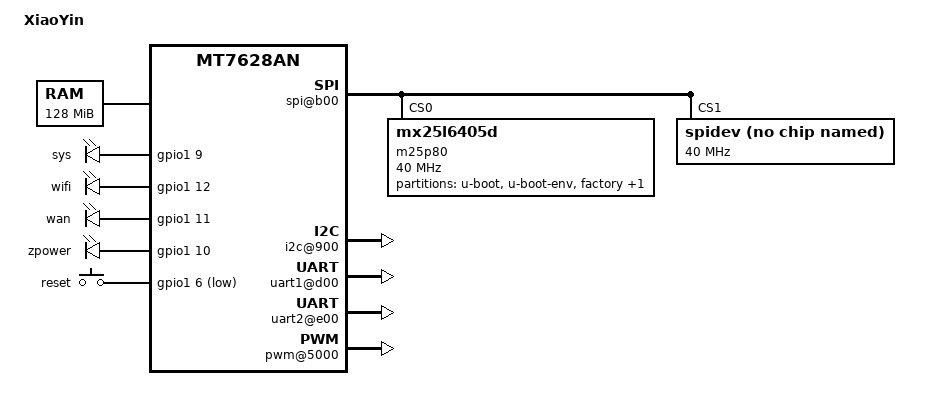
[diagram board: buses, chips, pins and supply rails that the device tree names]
/dts-v1/;

/include/ "mt7628an.dtsi"

/ {
	compatible = "mediatek,XiaoYin", "mediatek,mt7628an-soc";
	model = "XiaoYin";

	chosen {
		bootargs = "console=ttyS0,57600";
	};

	memory@0 {
		device_type = "memory";
		//reg = <0x0 0x4000000>; //64MB
		reg = <0x0 0x8000000>; //128MB
	};

	pinctrl {
		state_default: pinctrl0 {
			gpio {
				ralink,group = "gpio","perst", "refclk","spis","wled_an","ephy_p0","ephy_p1","ephy_p2","ephy_p3","ephy_p4","wdt";
				ralink,function = "gpio";
			};
			
			uart2 {
				ralink,group = "uart2";
				ralink,function = "uart2";
			};
			
			uart1 {
				ralink,group = "uart1";
				ralink,function = "uart1";
			};

			uart0 {
				ralink,group = "uart0";
				ralink,function = "uart0";
			};
			
			i2c {
				ralink,group = "i2c";
				ralink,function = "i2c";
			};
		};
	};

	palmbus@10000000 {
		spi@b00 {
			status = "okay";

			pinctrl-names = "default";
			pinctrl-0 = <&spi_pins>, <&spi_cs1_pins>;

			m25p80@0 {
				#address-cells = <1>;
				#size-cells = <1>;
				compatible = "mx25l6405d";
				reg = <0 0>;
				linux,modalias = "m25p80", "en25q64";
				spi-max-frequency = <40000000>;
				m25p,chunked-io = <31>;

				partition@0 {
					label = "u-boot";
					reg = <0x0 0x30000>;
					read-only;
				};

				partition@30000 {
					label = "u-boot-env";
					reg = <0x30000 0x10000>;
				};

				factory: partition@40000 {
					label = "factory";
					reg = <0x40000 0x10000>;
				};

				partition@50000 {
					label = "firmware";
					//reg = <0x50000 0x07b0000>; //8MB
					reg = <0x50000 0x1fb0000>; //32MB
				};
			};

			spidev@1 {
				#address-cells = <1>;
				#size-cells = <1>;
				compatible = "spidev";
				reg = <1 0>;
				spi-max-frequency = <40000000>;
			};
		};

		i2c@900 {
			status = "okay";
		};

		uart1@d00 {
			status = "okay";
		};

		uart2@e00 {
			status = "okay";
		};

		pwm@5000 {
			status = "okay";
		};
	};

	ethernet@10100000 {
		mtd-mac-address = <&factory 0x28>;
	};
	
	
	gpio-leds {
		compatible = "gpio-leds";

		sys {
			label = "sys";
			gpios = <&gpio1 9 0>;
			default-state = "off";
		};

		wifi {
			label = "wifi";
			gpios = <&gpio1 12 0>;
			default-state = "off";
		};

		wan {
			label = "wan";
			gpios = <&gpio1 11 0>;
			default-state = "off";
		};

		zpower {
			label = "zpower";
			gpios = <&gpio1 10 0>;
			default-state = "off";
		};
	};

	gpio-keys-polled {
			compatible = "gpio-keys-polled";
			#address-cells = <1>;
			#size-cells = <0>;
			poll-interval = <20>;
			reset {
					label = "reset";
					gpios = <&gpio1 6 1>;
					linux,code = <0x198>;
			};
	};
};
